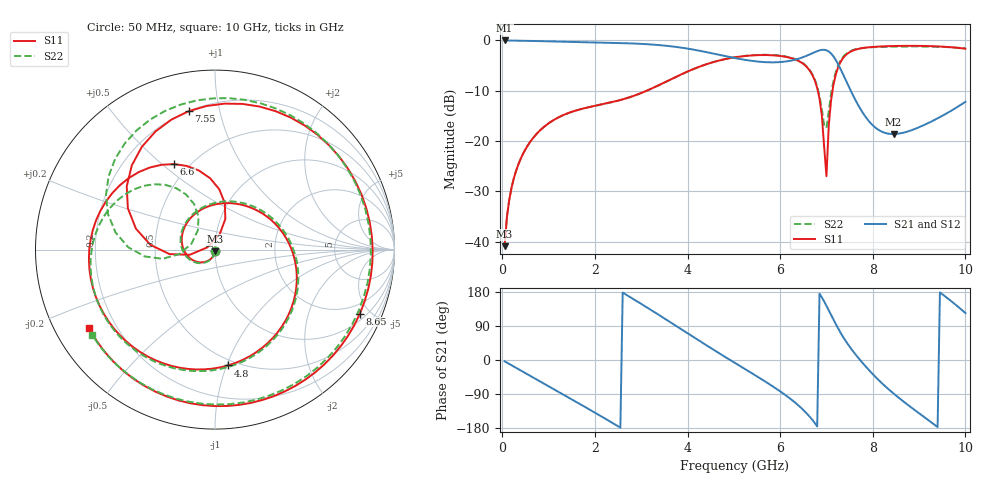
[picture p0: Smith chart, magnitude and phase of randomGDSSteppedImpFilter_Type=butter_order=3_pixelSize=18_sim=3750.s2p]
! freq	dB(S11)	phase(S11)	dB(S12)	phase(S12)
!  dB(S21)	phase(S21)	dB(S22)	phase(S22)
!S-par simulation data
#  GHz  S  DB  R 50
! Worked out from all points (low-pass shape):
!   200 points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, 50 MHz to 10 GHz, reference 50 ohm
!   highest |S21| = -0.01 dB at 50 MHz (marker M1); lowest = -18.6 dB at 8.45 GHz (marker M2)
!   |S21| within 3 dB of the highest: start of sweep to 4.759 GHz; 6.583 GHz to 7.136 GHz (552.7 MHz wide, 8.06 % of centre)
!   lowest |S11| = -40.9 dB at 50 MHz (marker M3), VSWR 1.02, Z = 50 - j0.899 ohm
!   |S11| at or under -10 dB: start of sweep to 3.119 GHz; 6.813 GHz to 7.131 GHz (318.3 MHz wide, 4.57 % of centre)
!   |S22| runs from -40.9 to -1.2 dB; largest |S21 - S12| = 0
!   S11 on the Smith chart (normalised r, x): 50 MHz: 1.00, -0.02; 4.8 GHz: 0.45, -1.01; 6.6 GHz: 0.41, +0.55; 7.55 GHz: 0.20, +0.81; 8.65 GHz: 1.35, -4.35; 10 GHz: 0.10, -0.28
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0.05  -40.92 -91.0  -0.01 -3.5  -0.01 -3.5  -40.90 -90.4
0.2  -29.28 -104.0  -0.03 -14.0  -0.03 -14.0  -29.27 -103.0
0.5  -21.66 -126.3  -0.08 -34.8  -0.08 -34.8  -21.65 -123.9
1.75  -13.54 143.8  -0.35 -121.3  -0.35 -121.3  -13.54 151.9
2.6  -11.73 82.6  -0.53 177.9  -0.53 177.9  -11.74 91.4
3.4  -8.81 24.1  -0.94 117.5  -0.94 117.5  -8.83 29.3
4  -6.19 -21.7  -1.63 70.6  -1.63 70.6  -6.20 -18.6
4.8  -3.75 -83.7  -3.09 9.0  -3.09 9.0  -3.73 -80.0
5.05  -3.33 -102.9  -3.56 -9.7  -3.56 -9.7  -3.30 -98.3
5.95  -3.04 -175.4  -4.34 -78.5  -4.34 -78.5  -2.98 -163.8
6.6  -5.54 115.7  -2.94 -144.4  -2.94 -144.4  -5.45 138.4
6.7  -6.95 101.5  -2.53 -158.7  -2.53 -158.7  -6.82 127.7
6.9  -14.88 71.4  -1.88 165.4  -1.88 165.4  -13.67 116.4
7  -27.01 164.1  -1.96 143.1  -1.96 143.1  -17.40 165.8
7.15  -8.87 175.8  -3.17 106.8  -3.17 106.8  -8.09 -174.4
7.55  -2.10 100.8  -10.49 26.9  -10.49 26.9  -1.99 123.3
7.9  -1.38 54.1  -15.88 -24.2  -15.88 -24.2  -1.40 78.5
8.35  -1.14 5.1  -18.57 -78.2  -18.57 -78.2  -1.25 26.2
8.45  -1.11 -4.8  -18.63 -88.6  -18.63 -88.6  -1.24 15.0
8.65  -1.08 -23.8  -18.38 -108.3  -18.38 -108.3  -1.22 -7.0
9.35  -1.17 -85.6  -15.74 -172.3  -15.74 -172.3  -1.25 -79.5
10  -1.65 -148.0  -12.22 123.9  -12.22 123.9  -1.58 -145.1
